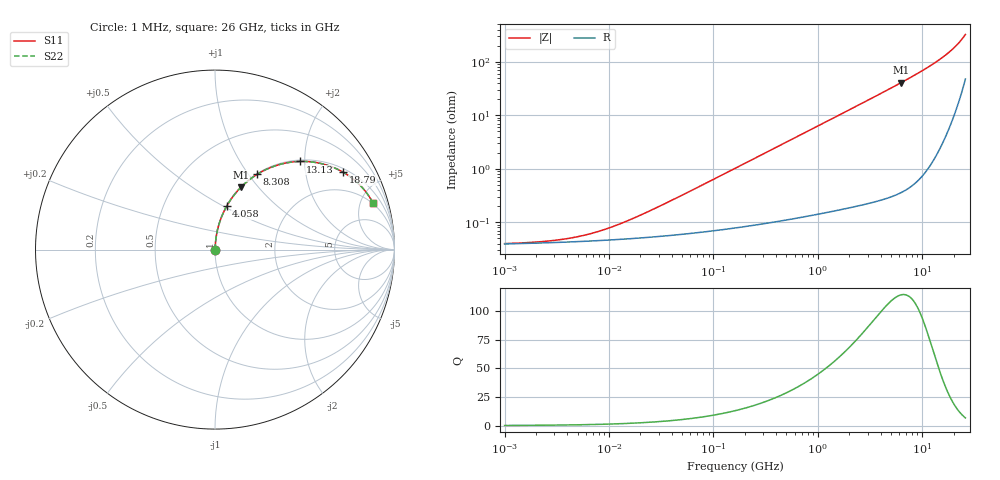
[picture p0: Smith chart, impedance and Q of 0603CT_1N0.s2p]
# MHz  S  MA  R  50
!Freq  MagS11  AngS11  MagS21  AngS21  MagS12  AngS12  MagS22  AngS22
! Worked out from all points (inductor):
!   1023 points, 1 MHz to 26 GHz, reference 50 ohm
!   read as one part in series: L = 1 nH near 25.13 MHz
!   highest Q = 114 at 6.288 GHz (marker M1), where L = 1.03 nH
!   S11 on the Smith chart (normalised r, x): 1 MHz: 1.00, +0.00; 4.058 GHz: 1.01, +0.52; 8.308 GHz: 1.01, +1.10; 13.13 GHz: 1.03, +1.90; 18.79 GHz: 1.13, +3.21; 26 GHz: 1.95, +6.43
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1  0.0003979 9.1  0.9996 -0.0  0.9996 -0.0  0.0003979 9.1
2.678033  0.0004469 22.1  0.9996 -0.0  0.9996 -0.0  0.0004469 22.1
3.908663  0.000491 30.0  0.9996 -0.0  0.9996 -0.0  0.000491 30.0
5.482201  0.0005566 38.2  0.9996 -0.0  0.9996 -0.0  0.0005566 38.2
7.922199  0.0006728 47.7  0.9995 -0.0  0.9995 -0.0  0.0006728 47.7
11.67829  0.0008727 57.1  0.9995 -0.0  0.9995 -0.0  0.0008727 57.1
17.73687  0.001221 65.8  0.9995 -0.1  0.9995 -0.1  0.001221 65.8
29.75695  0.001945 73.8  0.9995 -0.1  0.9995 -0.1  0.001945 73.8
161.5184  0.01017 85.0  0.9992 -0.6  0.9992 -0.6  0.01017 85.0
424.0287  0.02663 86.2  0.9986 -1.5  0.9986 -1.5  0.02663 86.2
885.4763  0.05552 85.4  0.9971 -3.2  0.9971 -3.2  0.05552 85.4
2022.325  0.1262 81.9  0.9902 -7.3  0.9902 -7.3  0.1262 81.9
4058.328  0.2494 75.0  0.9659 -14.4  0.9659 -14.4  0.2494 75.0
4806.295  0.293 72.4  0.9534 -17.0  0.9534 -17.0  0.293 72.4
6287.638  0.376 67.4  0.9233 -22.1  0.9233 -22.1  0.376 67.4
8307.8  0.4806 60.8  0.8725 -28.7  0.8725 -28.7  0.4806 60.8
10340.85  0.5742 54.3  0.8124 -35.0  0.8124 -35.0  0.5742 54.3
13130.14  0.6825 46.0  0.7198 -43.0  0.7198 -43.0  0.6825 46.0
15705.58  0.762 39.0  0.629 -49.6  0.629 -49.6  0.762 39.0
18786.19  0.8331 31.3  0.5193 -56.3  0.5193 -56.3  0.8331 31.3
21810.18  0.8809 24.5  0.4152 -61.5  0.4152 -61.5  0.8809 24.5
26000  0.9186 16.2  0.2828 -65.3  0.2828 -65.3  0.9186 16.2
